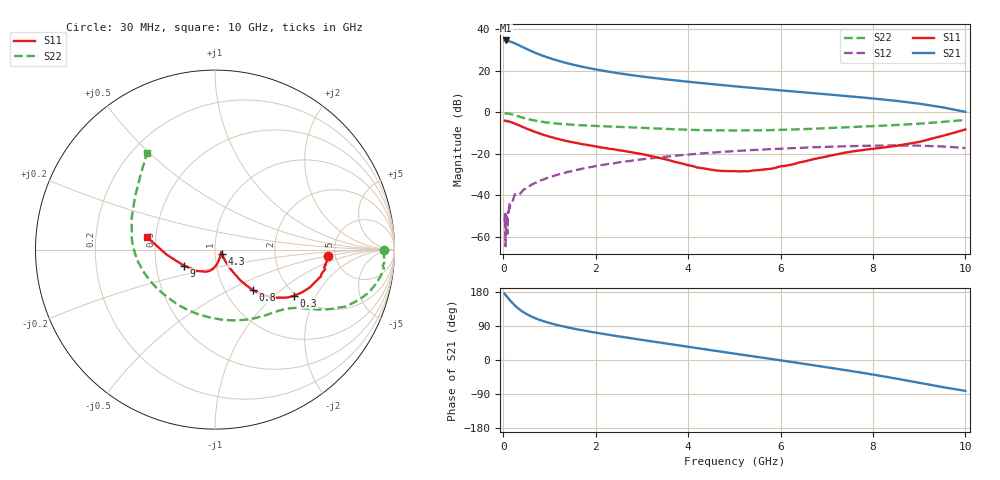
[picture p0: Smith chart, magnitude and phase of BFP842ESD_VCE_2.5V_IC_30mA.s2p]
! Infineon Technologies  Discrete & RF Semiconductors
! BFP842ESD
! VCE =  2.5 V,  IC =  30 mA
! Common Emitter S-Parameters:  May 2012
# GHz  S  MA  R  50
!  f  S11  S21  S12  S22
! GHz  MAG  ANG  MAG  ANG  MAG  ANG  MAG  ANG
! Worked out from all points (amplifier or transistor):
!   99 points, 30 MHz to 10 GHz, reference 50 ohm
!   highest |S21| = 34.7 dB at 60 MHz (marker M1)
!   |S21| within 3 dB of that: start of sweep to 402.7 MHz
!   unconditionally stable (mu >= 1): 1.859 GHz to end of sweep
!   at 350 MHz: K = 0.60, MSG = 35.9 dB, |S12| = -39.6 dB
!   at 3.5 GHz: K = 1.07, MAG = 17.1 dB, |S12| = -21.4 dB
!   at 10 GHz: K = 1.75, MAG = 3.7 dB, |S12| = -17.2 dB
!   S11 on the Smith chart (normalised r, x): 30 MHz: 4.37, -0.51; 300 MHz: 1.95, -1.36; 800 MHz: 1.34, -0.67; 4.3 GHz: 1.08, -0.05; 9 GHz: 0.70, -0.13; 10 GHz: 0.44, +0.07
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0.03  0.6322 -3.2  53.96 175.1  0.0024 54.3  0.9413 -0.1
0.05  0.627 -5.6  53.38 171.7  0.0006 178.1  0.9416 -2.5
0.06  0.6203 -7.9  54.14 170.2  0.0034 35.4  0.9517 -3.8
0.11  0.6082 -13.1  52.69 162.7  0.0039 76.4  0.9371 -8.4
0.2  0.5679 -21.9  48.64 150.5  0.007 73.0  0.8892 -15.6
0.25  0.5393 -26.3  46.3 144.2  0.0106 62.0  0.8548 -18.8
0.3  0.5101 -30.2  43.48 138.6  0.0107 71.4  0.8225 -21.3
0.4  0.4564 -35.9  38.46 129.1  0.0122 71.6  0.7595 -25.2
0.5  0.4091 -40.3  34.06 121.6  0.0145 72.8  0.7073 -28.1
0.6  0.37 -43.2  30.25 115.3  0.0179 69.0  0.667 -30.1
0.8  0.3071 -47.0  24.47 105.3  0.0228 68.9  0.6045 -32.9
1  0.2605 -49.0  20.42 97.7  0.0275 66.8  0.5633 -35.3
1.2  0.2276 -50.3  17.41 91.4  0.0323 64.6  0.5352 -37.6
1.7  0.1728 -51.0  12.67 78.8  0.0438 60.6  0.4901 -44.1
2.4  0.1297 -51.3  9.109 64.3  0.0594 52.8  0.4538 -55.4
3.4  0.079 -47.2  6.488 45.9  0.0833 40.6  0.406 -75.9
4.3  0.0454 -30.5  5.079 29.5  0.1032 28.5  0.3751 -98.8
5.1  0.0379 -23.7  4.175 15.1  0.119 17.3  0.3679 -119.1
6.7  0.0739 -77.6  2.917 -13.6  0.1442 -6.4  0.4038 -156.3
8.5  0.1561 -130.4  1.899 -49.0  0.1601 -38.4  0.4966 159.2
9  0.1948 -152.5  1.624 -60.1  0.1582 -49.0  0.5359 146.0
10  0.3874 169.4  1.032 -81.5  0.1387 -71.5  0.6562 125.3
